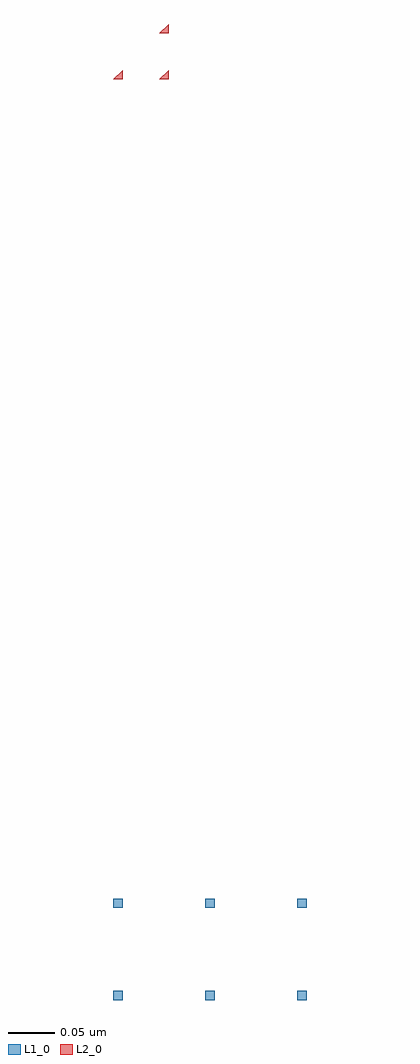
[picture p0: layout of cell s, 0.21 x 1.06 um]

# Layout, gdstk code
import gdstk
lib = gdstk.Library(unit=1e-6, precision=1e-09)
def R(c, l, rs):  # rectangles x0, y0, x1, y1
    for r in rs: c.add(gdstk.rectangle(r[:2], r[2:], *l))
def A(c, l, x, y, w, h, nx, ny, dx, dy):  # array of equal rectangles
    R(c, l, [(x+i*dx, y+j*dy, x+i*dx+w, y+j*dy+h) for i in range(nx) for j in range(ny)])
def P(c, l, *ps):  # polygons
    for p in ps: c.add(gdstk.Polygon(p, *l))
L1_0 = (1, 0)
L2_0 = (2, 0)

c_s = lib.new_cell('s')
A(c_s, L1_0, 0, 0, 0.01, 0.01, 3, 2, 0.1, 0.1)
P(c_s, L2_0, [(0,1),(0.01,1),(0.01,1.01)],
  [(0.05,1),(0.06,1),(0.06,1.01)],
  [(0.05,1.05),(0.06,1.05),(0.06,1.06)])
c_s.add(gdstk.Label('t', (0,2), layer=3, texttype=0))
c_s.add(gdstk.Label('t', (0.04,2), layer=3, texttype=0))
c_s.add(gdstk.Label('t', (0.08,2), layer=3, texttype=0))

lib.write_gds('s.gds')
